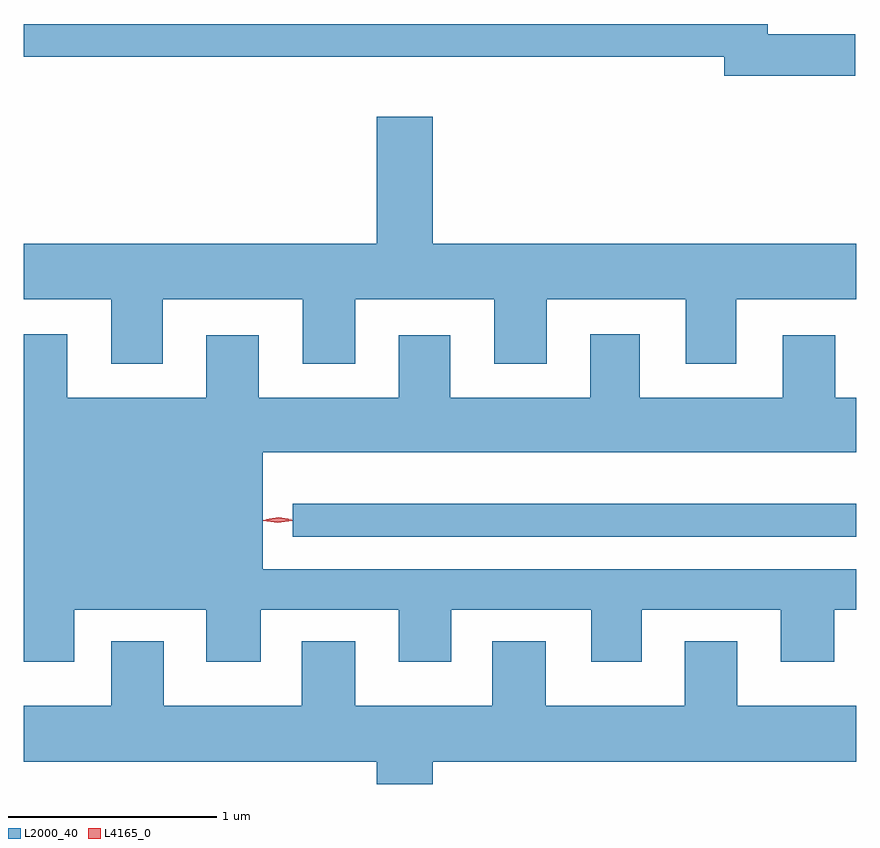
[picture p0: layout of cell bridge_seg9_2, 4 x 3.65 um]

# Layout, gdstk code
import gdstk
lib = gdstk.Library(unit=1e-6, precision=1e-09)
def R(c, l, rs):  # rectangles x0, y0, x1, y1
    for r in rs: c.add(gdstk.rectangle(r[:2], r[2:], *l))
def P(c, l, *ps):  # polygons
    for p in ps: c.add(gdstk.Polygon(p, *l))
L2000_40 = (2000, 40)
L4165_0 = (4165, 0)

bridge_seg9_2 = lib.new_cell('bridge_seg9_2')
R(bridge_seg9_2, L2000_40, [(1713.173,2059.496,1715.88,2059.654)])
P(bridge_seg9_2, L2000_40, [(1715.874,2061.909),(1715.454,2061.909),(1715.454,2061.959),(1711.88,2061.959),(1711.88,2061.801),(1715.246,2061.801),(1715.246,2061.711),(1715.874,2061.711)],
  [(1712.549,2060.636),(1713.221,2060.636),(1713.221,2060.326),(1713.474,2060.326),(1713.474,2060.636),(1714.141,2060.636),(1714.141,2060.326),(1714.394,2060.326),(1714.394,2060.636),(1715.061,2060.636),(1715.061,2060.326),(1715.304,2060.326),(1715.304,2060.636),(1715.88,2060.636),(1715.88,2060.904),(1713.844,2060.904),(1713.844,2061.514),(1713.576,2061.514),(1713.576,2060.904),(1711.88,2060.904),(1711.88,2060.636),(1712.301,2060.636),(1712.301,2060.326),(1712.549,2060.326)],
  [(1712.124,2059.146),(1712.756,2059.146),(1712.756,2058.896),(1713.019,2058.896),(1713.019,2059.146),(1713.681,2059.146),(1713.681,2058.896),(1713.934,2058.896),(1713.934,2059.146),(1714.606,2059.146),(1714.606,2058.896),(1714.849,2058.896),(1714.849,2059.146),(1715.516,2059.146),(1715.516,2058.896),(1715.774,2058.896),(1715.774,2059.146),(1715.88,2059.146),(1715.88,2059.339),(1713.029,2059.339),(1713.029,2059.901),(1715.88,2059.901),(1715.88,2060.164),(1715.779,2060.164),(1715.779,2060.464),(1715.526,2060.464),(1715.526,2060.164),(1714.839,2060.164),(1714.839,2060.469),(1714.601,2060.469),(1714.601,2060.164),(1713.929,2060.164),(1713.929,2060.464),(1713.681,2060.464),(1713.681,2060.164),(1713.009,2060.164),(1713.009,2060.464),(1712.756,2060.464),(1712.756,2060.164),(1712.089,2060.164),(1712.089,2060.469),(1711.88,2060.469),(1711.88,2058.896),(1712.124,2058.896)],
  [(1713.844,2058.416),(1715.88,2058.416),(1715.88,2058.684),(1715.309,2058.684),(1715.309,2058.994),(1715.056,2058.994),(1715.056,2058.684),(1714.389,2058.684),(1714.389,2058.994),(1714.131,2058.994),(1714.131,2058.684),(1713.474,2058.684),(1713.474,2058.994),(1713.216,2058.994),(1713.216,2058.684),(1712.554,2058.684),(1712.554,2058.994),(1712.301,2058.994),(1712.301,2058.684),(1711.88,2058.684),(1711.88,2058.416),(1713.576,2058.416),(1713.576,2058.308),(1713.844,2058.308)])
P(bridge_seg9_2, L4165_0, [(1713.105,2059.57),(1713.043,2059.579),(1713.042,2059.58),(1713.043,2059.58),(1713.105,2059.59),(1713.166,2059.58),(1713.167,2059.58),(1713.166,2059.579)],
  [(1713.101,2059.564),(1713.032,2059.573),(1713.032,2059.573),(1713.032,2059.574),(1713.101,2059.584),(1713.17,2059.574),(1713.17,2059.573),(1713.17,2059.573)])

lib.write_gds('bridge_seg9_2.gds')
